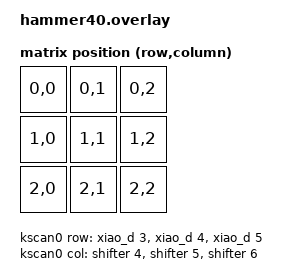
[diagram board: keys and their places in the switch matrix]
#include <dt-bindings/zmk/matrix_transform.h>

&xiao_serial { status = "disabled"; };

&xiao_spi {
  status = "okay";
  cs-gpios = <&xiao_d 7 GPIO_ACTIVE_LOW>;
  shifter: 595@0 {
    compatible = "zmk,gpio-595";
    status = "okay";
    gpio-controller;
    spi-max-frequency = <200000>;
    reg = <0>;
    label = "74HC595";
    #gpio-cells = <2>;
    ngpios = <8>;
  };
};

/ {
    chosen {
        zmk,kscan = &kscan0;
        zmk,matrix_transform = &default_transform;
    };

    kscan0: kscan_0 {
        compatible = "zmk,kscan-gpio-matrix";
        label = "KSCAN";
        diode-direction = "col2row";

        col-gpios
            = <&shifter 4 GPIO_ACTIVE_HIGH>
            , <&shifter 5 GPIO_ACTIVE_HIGH>
            , <&shifter 6 GPIO_ACTIVE_HIGH>
            ;

        row-gpios
            = <&xiao_d 3 (GPIO_ACTIVE_HIGH | GPIO_PULL_DOWN)>
            , <&xiao_d 4 (GPIO_ACTIVE_HIGH | GPIO_PULL_DOWN)>
            , <&xiao_d 5 (GPIO_ACTIVE_HIGH | GPIO_PULL_DOWN)>
            ;
    };

    default_transform: keymap_transform_0 {
      compatible = "zmk,matrix-transform";
      columns = <3>;
      rows = <3>;
      map = <
        RC(0,0) RC(0,1) RC(0,2)
        RC(1,0) RC(1,1) RC(1,2)
        RC(2,0) RC(2,1) RC(2,2)
      >;
  };
};
